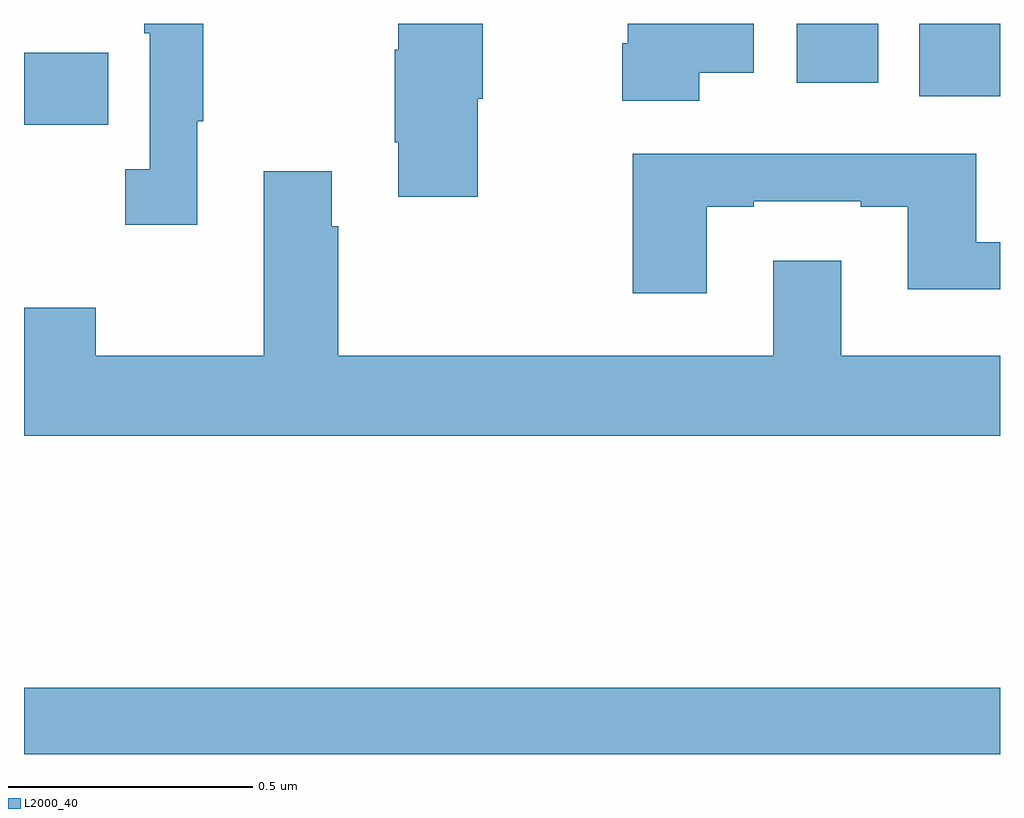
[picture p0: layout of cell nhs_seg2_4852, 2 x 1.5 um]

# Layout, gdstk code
import gdstk
lib = gdstk.Library(unit=1e-6, precision=1e-09)
def R(c, l, rs):  # rectangles x0, y0, x1, y1
    for r in rs: c.add(gdstk.rectangle(r[:2], r[2:], *l))
def P(c, l, *ps):  # polygons
    for p in ps: c.add(gdstk.Polygon(p, *l))
L2000_40 = (2000, 40)

nhs_seg2_4852 = lib.new_cell('nhs_seg2_4852')
R(nhs_seg2_4852, L2000_40, [(171,660.304,173,660.44), (171,661.594,171.173,661.741), (172.835,661.652,173,661.8), (172.583,661.68,172.75,661.8)])
P(nhs_seg2_4852, L2000_40, [(171.355,661.601),(171.367,661.601),(171.367,661.8),(171.246,661.8),(171.246,661.781),(171.258,661.781),(171.258,661.502),(171.207,661.502),(171.207,661.389),(171.355,661.389)],
  [(172.384,661.7),(172.495,661.7),(172.495,661.8),(172.237,661.8),(172.237,661.761),(172.226,661.761),(172.226,661.643),(172.384,661.643)],
  [(171.93,661.647),(171.94,661.647),(171.94,661.8),(171.767,661.8),(171.767,661.747),(171.76,661.747),(171.76,661.558),(171.767,661.558),(171.767,661.446),(171.93,661.446)],
  [(172.399,661.425),(172.495,661.425),(172.495,661.437),(172.715,661.437),(172.715,661.425),(172.811,661.425),(172.811,661.256),(173,661.256),(173,661.353),(172.951,661.353),(172.951,661.534),(172.247,661.534),(172.247,661.248),(172.399,661.248)],
  [(173,661.12),(172.675,661.12),(172.675,661.315),(172.535,661.315),(172.535,661.12),(171.644,661.12),(171.644,661.385),(171.631,661.385),(171.631,661.498),(171.491,661.498),(171.491,661.12),(171.147,661.12),(171.147,661.219),(171,661.219),(171,660.956),(173,660.956)])

lib.write_gds('nhs_seg2_4852.gds')
